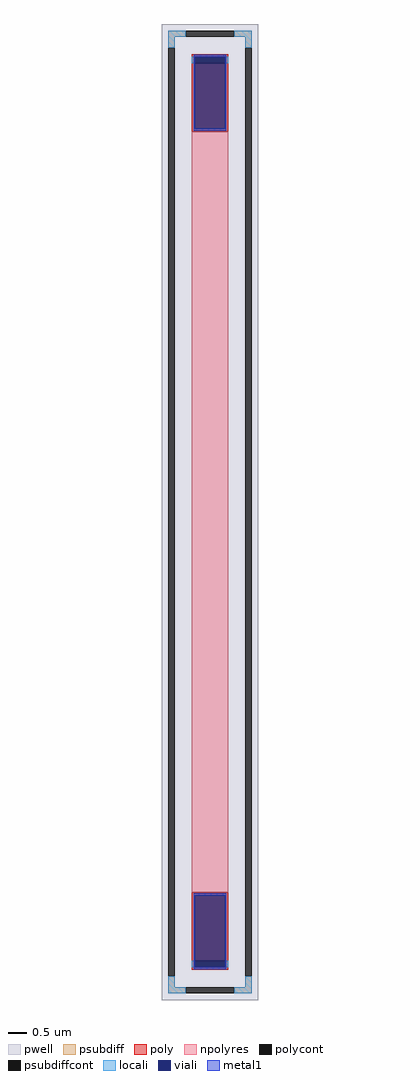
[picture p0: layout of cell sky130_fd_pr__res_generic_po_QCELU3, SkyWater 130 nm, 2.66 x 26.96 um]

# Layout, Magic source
magic
tech sky130A
magscale 1 2
<< pwell >>
rect -266 -2696 266 2696
<< psubdiff >>
rect -230 2626 -134 2660
rect 134 2626 230 2660
rect -230 2564 -196 2626
rect 196 2564 230 2626
rect -230 -2626 -196 -2564
rect 196 -2626 230 -2564
rect -230 -2660 -134 -2626
rect 134 -2660 230 -2626
<< psubdiffcont >>
rect -134 2626 134 2660
rect -230 -2564 -196 2564
rect 196 -2564 230 2564
rect -134 -2660 134 -2626
<< poly >>
rect -100 2514 100 2530
rect -100 2480 -84 2514
rect 84 2480 100 2514
rect -100 2100 100 2480
rect -100 -2480 100 -2100
rect -100 -2514 -84 -2480
rect 84 -2514 100 -2480
rect -100 -2530 100 -2514
<< polycont >>
rect -84 2480 84 2514
rect -84 -2514 84 -2480
<< npolyres >>
rect -100 -2100 100 2100
<< locali >>
rect -230 2626 -134 2660
rect 134 2626 230 2660
rect -230 2564 -196 2626
rect 196 2564 230 2626
rect -100 2480 -84 2514
rect 84 2480 100 2514
rect -100 -2514 -84 -2480
rect 84 -2514 100 -2480
rect -230 -2626 -196 -2564
rect 196 -2626 230 -2564
rect -230 -2660 -134 -2626
rect 134 -2660 230 -2626
<< viali >>
rect -84 2480 84 2514
rect -84 2117 84 2480
rect -84 -2480 84 -2117
rect -84 -2514 84 -2480
<< metal1 >>
rect -90 2514 90 2526
rect -90 2117 -84 2514
rect 84 2117 90 2514
rect -90 2105 90 2117
rect -90 -2117 90 -2105
rect -90 -2514 -84 -2117
rect 84 -2514 90 -2117
rect -90 -2526 90 -2514
<< properties >>
string FIXED_BBOX -213 -2643 213 2643
string gencell sky130_fd_pr__res_generic_po
string library sky130
string parameters w 1.0 l 21.0 m 1 nx 1 wmin 0.330 lmin 1.650 rho 48.2 val 1.012k dummy 0 dw 0.0 term 0.0 sterm 0.0 caplen 0.4 snake 0 guard 1 glc 1 grc 1 gtc 1 gbc 1 roverlap 0 endcov 100 full_metal 1 hv_guard 0 n_guard 0 vias 1 viagb 0 viagt 0 viagl 0 viagr 0
<< end >>
